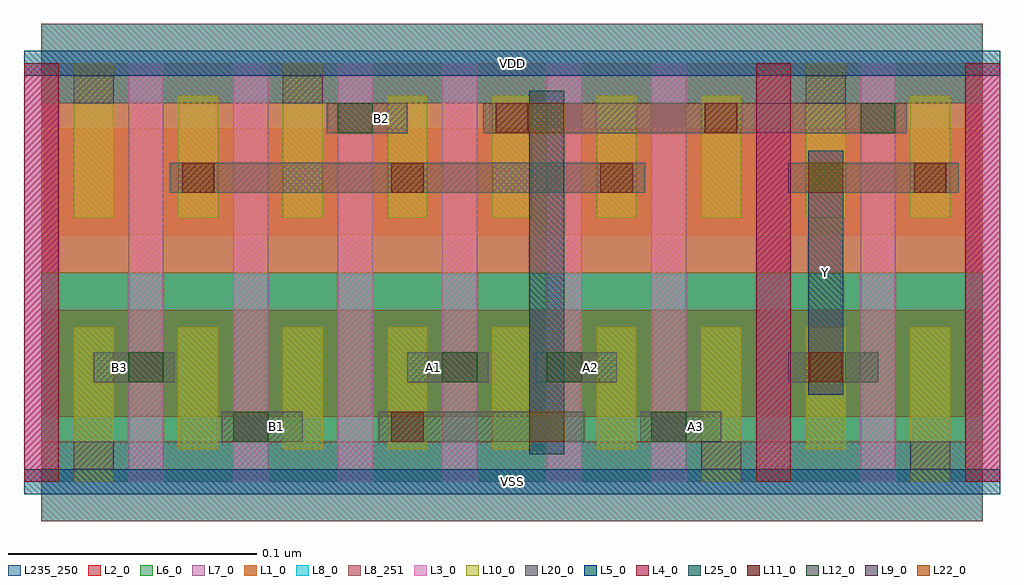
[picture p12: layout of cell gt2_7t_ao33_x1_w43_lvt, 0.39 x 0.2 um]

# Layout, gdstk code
import gdstk
lib = gdstk.Library(unit=1e-6, precision=5e-10)
def R(c, l, rs):  # rectangles x0, y0, x1, y1
    for r in rs: c.add(gdstk.rectangle(r[:2], r[2:], *l))
def A(c, l, x, y, w, h, nx, ny, dx, dy):  # array of equal rectangles
    R(c, l, [(x+i*dx, y+j*dy, x+i*dx+w, y+j*dy+h) for i in range(nx) for j in range(ny)])
L1_0 = (1, 0)
L2_0 = (2, 0)
L3_0 = (3, 0)
L4_0 = (4, 0)
L5_0 = (5, 0)
L6_0 = (6, 0)
L7_0 = (7, 0)
L8_0 = (8, 0)
L8_251 = (8, 251)
L9_0 = (9, 0)
L10_0 = (10, 0)
L11_0 = (11, 0)
L12_0 = (12, 0)
L20_0 = (20, 0)
L22_0 = (22, 0)
L25_0 = (25, 0)
L235_250 = (235, 250)

gt2_7t_ao33_x1_w43_lvt = lib.new_cell('gt2_7t_ao33_x1_w43_lvt')
R(gt2_7t_ao33_x1_w43_lvt, L1_0, [(0,0.084,0.378,0.168)])
R(gt2_7t_ao33_x1_w43_lvt, L2_0, [(0,0.026,0.378,0.069), (0,0.099,0.378,0.142)])
A(gt2_7t_ao33_x1_w43_lvt, L3_0, -0.007, 0, 0.014, 0.168, 10, 1, 0.042, 0)
R(gt2_7t_ao33_x1_w43_lvt, L4_0, [(-0.007,0,0.007,0.168), (0.287,0,0.301,0.168), (0.371,0,0.385,0.168)])
R(gt2_7t_ao33_x1_w43_lvt, L5_0, [(-0.007,-0.005,0.385,0.005), (-0.007,0.163,0.385,0.173)])
R(gt2_7t_ao33_x1_w43_lvt, L6_0, [(0,0,0.378,0.084)])
R(gt2_7t_ao33_x1_w43_lvt, L7_0, [(0,0.084,0.378,0.168)])
R(gt2_7t_ao33_x1_w43_lvt, L8_0, [(0,-0.016,0.378,0.016), (0,0.152,0.378,0.184)])
R(gt2_7t_ao33_x1_w43_lvt, L8_251, [(0,-0.016,0.378,0.016), (0,0.152,0.378,0.184)])
R(gt2_7t_ao33_x1_w43_lvt, L9_0, [(0.013,0.005,0.029,0.016), (0.265,0.005,0.281,0.016), (0.349,0.005,0.365,0.016), (0.013,0.152,0.029,0.163), (0.097,0.152,0.113,0.163), (0.307,0.152,0.323,0.163)])
A(gt2_7t_ao33_x1_w43_lvt, L10_0, 0.055, 0.013, 0.016, 0.049, 5, 1, 0.042, 0)
A(gt2_7t_ao33_x1_w43_lvt, L10_0, 0.139, 0.106, 0.016, 0.049, 4, 1, 0.042, 0)
R(gt2_7t_ao33_x1_w43_lvt, L10_0, [(0.013,0,0.029,0.062), (0.265,0,0.281,0.062), (0.349,0,0.365,0.062), (0.307,0.013,0.323,0.062), (0.013,0.106,0.029,0.168), (0.055,0.106,0.071,0.155), (0.097,0.106,0.113,0.168), (0.307,0.106,0.323,0.168), (0.349,0.106,0.365,0.155)])
A(gt2_7t_ao33_x1_w43_lvt, L11_0, 0.0565, 0.116, 0.013, 0.012, 3, 1, 0.084, 0)
R(gt2_7t_ao33_x1_w43_lvt, L11_0, [(0.1405,0.016,0.1535,0.028), (0.3085,0.04,0.3215,0.052), (0.3505,0.116,0.3635,0.128), (0.1825,0.14,0.1955,0.152), (0.2665,0.14,0.2795,0.152)])
R(gt2_7t_ao33_x1_w43_lvt, L12_0, [(0.077,0.016,0.091,0.028), (0.245,0.016,0.259,0.028), (0.035,0.04,0.049,0.052), (0.161,0.04,0.175,0.052), (0.203,0.04,0.217,0.052), (0.119,0.14,0.133,0.152), (0.329,0.14,0.343,0.152)])
R(gt2_7t_ao33_x1_w43_lvt, L20_0, [(0.0725,0.016,0.105,0.028), (0.1355,0.016,0.218,0.028), (0.2405,0.016,0.273,0.028), (0.021,0.04,0.0535,0.052), (0.147,0.04,0.1795,0.052), (0.1985,0.04,0.231,0.052), (0.3,0.04,0.336,0.052), (0.0515,0.116,0.2425,0.128), (0.3,0.116,0.3685,0.128), (0.1145,0.14,0.147,0.152), (0.1775,0.14,0.3475,0.152)])
R(gt2_7t_ao33_x1_w43_lvt, L22_0, [(0.196,0.016,0.21,0.028), (0.308,0.04,0.322,0.052), (0.308,0.116,0.322,0.128), (0.196,0.14,0.21,0.152)])
R(gt2_7t_ao33_x1_w43_lvt, L25_0, [(0.196,0.011,0.21,0.157), (0.308,0.035,0.322,0.133)])
R(gt2_7t_ao33_x1_w43_lvt, L235_250, [(0,0,0.378,0.168)])
gt2_7t_ao33_x1_w43_lvt.add(gdstk.Label('VSS', (0.189,0), layer=8, texttype=251))
gt2_7t_ao33_x1_w43_lvt.add(gdstk.Label('VDD', (0.189,0.168), layer=8, texttype=251))
gt2_7t_ao33_x1_w43_lvt.add(gdstk.Label('B3', (0.0315,0.046), layer=20, texttype=251))
gt2_7t_ao33_x1_w43_lvt.add(gdstk.Label('B1', (0.0945,0.022), layer=20, texttype=251))
gt2_7t_ao33_x1_w43_lvt.add(gdstk.Label('A3', (0.2625,0.022), layer=20, texttype=251))
gt2_7t_ao33_x1_w43_lvt.add(gdstk.Label('A2', (0.2205,0.046), layer=20, texttype=251))
gt2_7t_ao33_x1_w43_lvt.add(gdstk.Label('A1', (0.1575,0.046), layer=20, texttype=251))
gt2_7t_ao33_x1_w43_lvt.add(gdstk.Label('B2', (0.1365,0.146), layer=20, texttype=251))
gt2_7t_ao33_x1_w43_lvt.add(gdstk.Label('Y', (0.315,0.084), layer=25, texttype=251))

lib.write_gds('gt2_7t_ao33_x1_w43_lvt.gds')
